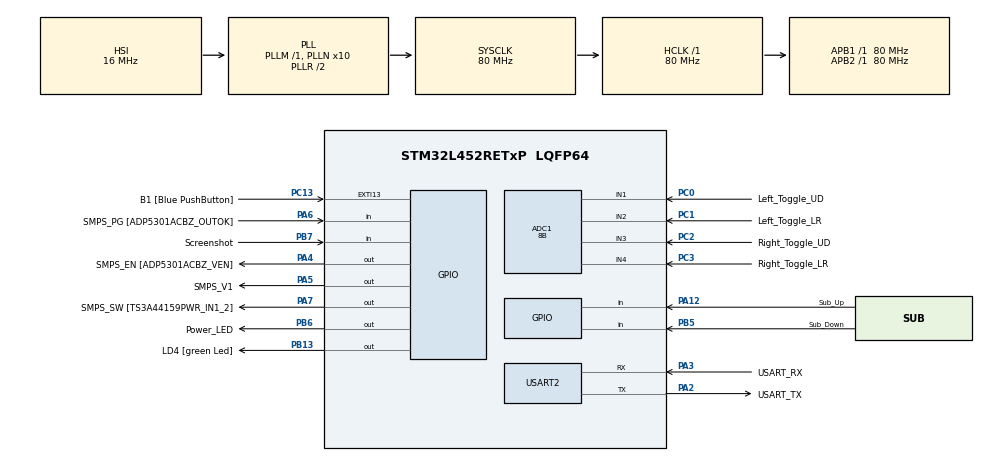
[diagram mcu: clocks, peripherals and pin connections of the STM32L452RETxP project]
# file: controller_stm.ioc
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ADC1.Channel-0\#ChannelRegularConversion=ADC_CHANNEL_1
ADC1.Channel-4\#ChannelRegularConversion=ADC_CHANNEL_2
ADC1.Channel-5\#ChannelRegularConversion=ADC_CHANNEL_3
ADC1.Channel-6\#ChannelRegularConversion=ADC_CHANNEL_4
ADC1.ContinuousConvMode=DISABLE
ADC1.DMAContinuousRequests=ENABLE
ADC1.NbrOfConversion=4
ADC1.NbrOfConversionFlag=1
ADC1.Offset-0\#ChannelRegularConversion=1
ADC1.OffsetNumber-0\#ChannelRegularConversion=ADC_OFFSET_NONE
ADC1.OffsetNumber-4\#ChannelRegularConversion=ADC_OFFSET_NONE
ADC1.OffsetNumber-5\#ChannelRegularConversion=ADC_OFFSET_NONE
ADC1.OffsetNumber-6\#ChannelRegularConversion=ADC_OFFSET_NONE
ADC1.Rank-0\#ChannelRegularConversion=1
ADC1.Rank-4\#ChannelRegularConversion=2
ADC1.Rank-5\#ChannelRegularConversion=3
ADC1.Rank-6\#ChannelRegularConversion=4
ADC1.Resolution=ADC_RESOLUTION_8B
ADC1.SamplingTime-0\#ChannelRegularConversion=ADC_SAMPLETIME_2CYCLES_5
ADC1.SamplingTime-4\#ChannelRegularConversion=ADC_SAMPLETIME_2CYCLES_5
ADC1.SamplingTime-5\#ChannelRegularConversion=ADC_SAMPLETIME_2CYCLES_5
ADC1.SamplingTime-6\#ChannelRegularConversion=ADC_SAMPLETIME_2CYCLES_5
ADC1.master=1
Dma.ADC1.0.Direction=DMA_PERIPH_TO_MEMORY
Dma.ADC1.0.Instance=DMA1_Channel1
Dma.ADC1.0.MemDataAlignment=DMA_MDATAALIGN_WORD
Dma.ADC1.0.MemInc=DMA_MINC_ENABLE
Dma.ADC1.0.Mode=DMA_CIRCULAR
Dma.ADC1.0.PeriphDataAlignment=DMA_PDATAALIGN_WORD
Dma.ADC1.0.PeriphInc=DMA_PINC_DISABLE
Dma.ADC1.0.Priority=DMA_PRIORITY_LOW
Dma.Request0=ADC1
Mcu.Family=STM32L4
Mcu.Name=STM32L452RETxP
Mcu.Package=LQFP64
NVIC.DMA1_Channel1_IRQn=true\:0\:0\:false\:false\:true\:false\:true\:true
NVIC.PriorityGroup=NVIC_PRIORITYGROUP_4
NVIC.USART2_IRQn=true\:0\:0\:false\:false\:true\:true\:true\:true
PA12.GPIO_Label=Sub_Up
PA12.Signal=GPIO_Input
PA13\ (JTMS/SWDIO).GPIO_Label=TMS
PA13\ (JTMS/SWDIO).Mode=Serial_Wire
PA13\ (JTMS/SWDIO).Signal=SYS_JTMS-SWDIO
PA14\ (JTCK/SWCLK).GPIO_Label=TCK
PA14\ (JTCK/SWCLK).Mode=Serial_Wire
PA14\ (JTCK/SWCLK).Signal=SYS_JTCK-SWCLK
PA2.GPIO_Label=USART_TX
PA2.GPIO_Mode=GPIO_MODE_AF_PP
PA2.GPIO_PuPd=GPIO_NOPULL
PA2.GPIO_Speed=GPIO_SPEED_FREQ_VERY_HIGH
PA2.Mode=Asynchronous
PA2.Signal=USART2_TX
PA3.GPIO_Label=USART_RX
PA3.GPIO_Mode=GPIO_MODE_AF_PP
PA3.GPIO_PuPd=GPIO_NOPULL
PA3.GPIO_Speed=GPIO_SPEED_FREQ_VERY_HIGH
PA3.Mode=Asynchronous
PA3.Signal=USART2_RX
PA4.GPIO_Label=SMPS_EN [ADP5301ACBZ_VEN]
PA4.Signal=GPIO_Output
PA5.GPIO_Label=SMPS_V1
PA5.GPIO_ModeDefaultOutputPP=GPIO_MODE_OUTPUT_PP
PA5.GPIO_PuPd=GPIO_NOPULL
PA5.GPIO_Speed=GPIO_SPEED_FREQ_LOW
PA5.Signal=GPIO_Output
PA6.GPIO_Label=SMPS_PG [ADP5301ACBZ_OUTOK]
PA6.GPIO_PuPd=GPIO_PULLUP
PA6.Signal=GPIO_Input
PA7.GPIO_Label=SMPS_SW [TS3A44159PWR_IN1_2]
PA7.Signal=GPIO_Output
PB13.GPIO_Label=LD4 [green Led]
PB13.Signal=GPIO_Output
PB3\ (JTDO/TRACESWO).GPIO_Label=SWO
PB3\ (JTDO/TRACESWO).Signal=SYS_JTDO-SWO
PB5.GPIO_Label=Sub_Down
PB5.Signal=GPIO_Input
PB6.GPIO_Label=Power_LED
PB6.Signal=GPIO_Output
PB7.GPIO_Label=Screenshot
PB7.Signal=GPIO_Input
PC0.GPIO_Label=Left_Toggle_UD
PC0.Signal=ADCx_IN1
PC1.GPIO_Label=Left_Toggle_LR
PC1.Signal=ADCx_IN2
PC13.GPIO_Label=B1 [Blue PushButton]
PC13.GPIO_ModeDefaultEXTI=GPIO_MODE_IT_FALLING
PC13.GPIO_PuPd=GPIO_NOPULL
PC13.Signal=GPXTI13
PC14-OSC32_IN\ (PC14).Mode=LSE-External-Clock-Source
PC14-OSC32_IN\ (PC14).Signal=RCC_OSC32_IN
PC15-OSC32_OUT\ (PC15).Signal=RCC_OSC32_OUT
PC2.GPIO_Label=Right_Toggle_UD
PC2.Signal=ADCx_IN3
PC3.GPIO_Label=Right_Toggle_LR
PC3.Signal=ADCx_IN4
PH0-OSC_IN\ (PH0).GPIO_Label=MCO
PH0-OSC_IN\ (PH0).Mode=HSE-External-Oscillator
PH0-OSC_IN\ (PH0).Signal=RCC_OSC_IN
PH1-OSC_OUT\ (PH1).Mode=HSE-External-Oscillator
PH1-OSC_OUT\ (PH1).Signal=RCC_OSC_OUT
ProjectManager.HeapSize=0x200
ProjectManager.StackSize=0x400
ProjectManager.TargetToolchain=STM32CubeIDE
RCC.ADCFreq_Value=64000000
RCC.AHBFreq_Value=80000000
RCC.APB1Freq_Value=80000000
RCC.APB1TimFreq_Value=80000000
RCC.APB2Freq_Value=80000000
RCC.APB2TimFreq_Value=80000000
RCC.CortexFreq_Value=80000000
RCC.HCLKFreq_Value=80000000
RCC.HSE_VALUE=8000000
RCC.HSI48_VALUE=48000000
RCC.HSI_VALUE=16000000
RCC.LSE_VALUE=32768
RCC.MSI_VALUE=4000000
RCC.PLLN=10
RCC.PLLSourceVirtual=RCC_PLLSOURCE_HSI
RCC.SYSCLKFreq_VALUE=80000000
RCC.SYSCLKSource=RCC_SYSCLKSOURCE_PLLCLK
RCC.USBFreq_Value=64000000
RCC.VCOOutputFreq_Value=160000000
SH.ADCx_IN1.0=ADC1_IN1,IN1-Single-Ended
SH.ADCx_IN2.0=ADC1_IN2,IN2-Single-Ended
SH.ADCx_IN3.0=ADC1_IN3,IN3-Single-Ended
SH.ADCx_IN4.0=ADC1_IN4,IN4-Single-Ended
USART2.VirtualMode-Asynchronous=VM_ASYNC
board=NUCLEO-L452RE-P

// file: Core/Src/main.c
/* USER CODE BEGIN Header */
/**
  ******************************************************************************
  * @file           : main.c
  * @brief          : Constantly polls to take input from controller to send to
  * the subs
  ******************************************************************************
  * @attention
  *
  * Copyright (c) 2023 STMicroelectronics.
  * All rights reserved.
  *
  * This software is licensed under terms that can be found in the LICENSE file
  * in the root directory of this software component.
  * If no LICENSE file comes with this software, it is provided AS-IS.
  *
  ******************************************************************************
  */
/* USER CODE END Header */
#include "main.h"

/* USER CODE BEGIN Includes */
#include "string.h"
#include <stdio.h>
#include <stdlib.h>
/* USER CODE END Includes */

ADC_HandleTypeDef hadc1;
//The hadc1 variable is declared here. The MX_ADC1_Init() function takes a void
//parameter. Within that function hadc1 is configured. (Line 250-280)
DMA_HandleTypeDef hdma_adc1;

UART_HandleTypeDef huart2;

void SystemClock_Config(void);
static void MX_GPIO_Init(void);
static void MX_DMA_Init(void);
static void MX_ADC1_Init(void);
static void MX_USART2_UART_Init(void);

int main(void)
{
  /* USER CODE BEGIN 1 */
	//Initialize structure variables to nothing
	uint8_t leftToggleUD = 0;
	uint8_t leftToggleLR = 0;
	uint8_t rightToggleUD = 0;
	uint8_t rightToggleLR = 0;
	uint8_t subDown = 0;
	uint8_t subUp = 0;
	uint8_t screenshot = 0;

	//Store toggle data
	uint32_t toggleData[4];

  /* USER CODE END 1 */

  /* MCU Configuration--------------------------------------------------------*/

  /* Reset of all peripherals, Initializes the Flash interface and the Systick. */
  HAL_Init();

  /* Configure the system clock */
  SystemClock_Config();

  /* Initialize all configured peripherals */
  MX_GPIO_Init();
  MX_DMA_Init();
  MX_ADC1_Init();
  MX_USART2_UART_Init();
  /* USER CODE BEGIN 2 */
  //Start ADC and initialize channels
  //HAL_ADC_Start(&hadc1);
  //HAL_ADC_ConfigChannel(&hadc1, ADC_CHANNEL_1);
  //HAL_ADC_ConfigChannel(&hadc1, ADC_CHANNEL_2);
  //HAL_ADC_ConfigChannel(&hadc1, ADC_CHANNEL_3);
  //HAL_ADC_ConfigChannel(&hadc1, ADC_CHANNEL_4);

  //Turn on Power LED
  HAL_GPIO_TogglePin(GPIOB, GPIO_PIN_6);

  //Local debug - warning but it's intentional so a debugger can easily read current values
  uint8_t localbuff[7];

  //Buffer to be transmitted
  //25 indices for 4 three digit numbers, 6 commas, a carriage return and newline
  //and 3 single digits. Added two extra indices as a buffer so that sprintf doesn't error
  char buffer[25];
  for(int i = 0; i < 35; i++)
  {
	  buffer[i] = 0;
  }

  // Calibrate The ADC On Power-Up For Better Accuracy
  //HAL_ADCEx_Calibration_Start(&hadc1);
  /* USER CODE END 2 */

  /* Infinite loop */
  /* USER CODE BEGIN WHILE */
	while (1)
	{
		//Poll data from GPIO pins and ADC channels 1-4
		if(HAL_GPIO_ReadPin(GPIOA, GPIO_PIN_12) == GPIO_PIN_SET) subUp = 1;
		if(HAL_GPIO_ReadPin(GPIOB, GPIO_PIN_5) == GPIO_PIN_SET) subDown = 1;
		if(HAL_GPIO_ReadPin(GPIOB, GPIO_PIN_7) == GPIO_PIN_SET) screenshot = 1;

		//Start ADC in DMA mode
		HAL_ADC_Start_DMA(&hadc1, toggleData, 4);

		leftToggleUD = toggleData[0];
		leftToggleLR = toggleData[1];
		rightToggleUD = toggleData[2];
		rightToggleLR = toggleData[3];

		//Local debug
		localbuff[0] = leftToggleUD;
		localbuff[1] = leftToggleLR;
		localbuff[2] = rightToggleUD;
		localbuff[3] = rightToggleLR;
		localbuff[4] = subUp;
		localbuff[5] = subDown;
		localbuff[6] = screenshot;

		//Prep data to be sent off to Raspberry Pi
		sprintf(buffer, "%u,%u,%u,%u,%u,%u,%u\n\r", leftToggleUD, leftToggleLR,
						rightToggleUD, rightToggleLR, subUp, subDown, screenshot);

		//Transmit Data *Note, may want to do an interrupt style sometime? For now this seems to work fine
		if(HAL_UART_Transmit(&huart2, (uint8_t *)buffer, sizeof(buffer), HAL_MAX_DELAY) == HAL_OK)
		{
			//Delay because we don't need to transmit that fast - this is a controller operated by humans
			HAL_Delay(50);
			//Reset everything to 0 once data is transmitted
			subUp = 0;
			subDown = 0;
			screenshot = 0;
			leftToggleLR = 0;
			leftToggleUD = 0;
			rightToggleLR = 0;
			rightToggleUD = 0;

		}

    /* USER CODE END WHILE */

	}
}

void SystemClock_Config(void)
{
  RCC_OscInitTypeDef RCC_OscInitStruct = {0};
  RCC_ClkInitTypeDef RCC_ClkInitStruct = {0};

  /** Configure the main internal regulator output voltage
  */
  if (HAL_PWREx_ControlVoltageScaling(PWR_REGULATOR_VOLTAGE_SCALE1) != HAL_OK)
  {
    Error_Handler();
  }

  /** Initializes the RCC Oscillators according to the specified parameters
  * in the RCC_OscInitTypeDef structure.
  */
  RCC_OscInitStruct.OscillatorType = RCC_OSCILLATORTYPE_HSI;
  RCC_OscInitStruct.HSIState = RCC_HSI_ON;
  RCC_OscInitStruct.HSICalibrationValue = RCC_HSICALIBRATION_DEFAULT;
  RCC_OscInitStruct.PLL.PLLState = RCC_PLL_ON;
  RCC_OscInitStruct.PLL.PLLSource = RCC_PLLSOURCE_HSI;
  RCC_OscInitStruct.PLL.PLLM = 1;
  RCC_OscInitStruct.PLL.PLLN = 10;
  RCC_OscInitStruct.PLL.PLLP = RCC_PLLP_DIV7;
  RCC_OscInitStruct.PLL.PLLQ = RCC_PLLQ_DIV2;
  RCC_OscInitStruct.PLL.PLLR = RCC_PLLR_DIV2;
  if (HAL_RCC_OscConfig(&RCC_OscInitStruct) != HAL_OK)
  {
    Error_Handler();
  }

  /** Initializes the CPU, AHB and APB buses clocks
  */
  RCC_ClkInitStruct.ClockType = RCC_CLOCKTYPE_HCLK|RCC_CLOCKTYPE_SYSCLK
                              |RCC_CLOCKTYPE_PCLK1|RCC_CLOCKTYPE_PCLK2;
  RCC_ClkInitStruct.SYSCLKSource = RCC_SYSCLKSOURCE_PLLCLK;
  RCC_ClkInitStruct.AHBCLKDivider = RCC_SYSCLK_DIV1;
  RCC_ClkInitStruct.APB1CLKDivider = RCC_HCLK_DIV1;
  RCC_ClkInitStruct.APB2CLKDivider = RCC_HCLK_DIV1;

  if (HAL_RCC_ClockConfig(&RCC_ClkInitStruct, FLASH_LATENCY_4) != HAL_OK)
  {
    Error_Handler();
  }
}

static void MX_ADC1_Init(void)
{

  ADC_ChannelConfTypeDef sConfig = {0};

  /** Common config
  */
  hadc1.Instance = ADC1;
  hadc1.Init.ClockPrescaler = ADC_CLOCK_ASYNC_DIV1;
  hadc1.Init.Resolution = ADC_RESOLUTION_8B;
  hadc1.Init.DataAlign = ADC_DATAALIGN_RIGHT;
  hadc1.Init.ScanConvMode = ADC_SCAN_ENABLE;
  hadc1.Init.EOCSelection = ADC_EOC_SINGLE_CONV;
  hadc1.Init.LowPowerAutoWait = DISABLE;
  hadc1.Init.ContinuousConvMode = DISABLE;
  hadc1.Init.NbrOfConversion = 4;
  hadc1.Init.DiscontinuousConvMode = DISABLE;
  hadc1.Init.ExternalTrigConv = ADC_SOFTWARE_START;
  hadc1.Init.ExternalTrigConvEdge = ADC_EXTERNALTRIGCONVEDGE_NONE;
  hadc1.Init.DMAContinuousRequests = ENABLE;
  hadc1.Init.Overrun = ADC_OVR_DATA_PRESERVED;
  hadc1.Init.OversamplingMode = DISABLE;
  if (HAL_ADC_Init(&hadc1) != HAL_OK)
  {
    Error_Handler();
  }

  /** Configure Regular Channel
  */
  sConfig.Channel = ADC_CHANNEL_1;
  sConfig.Rank = ADC_REGULAR_RANK_1;
  sConfig.SamplingTime = ADC_SAMPLETIME_2CYCLES_5;
  sConfig.SingleDiff = ADC_SINGLE_ENDED;
  sConfig.OffsetNumber = ADC_OFFSET_NONE;
  sConfig.Offset = 1;
  if (HAL_ADC_ConfigChannel(&hadc1, &sConfig) != HAL_OK)
  {
    Error_Handler();
  }

  /** Configure Regular Channel
  */
  sConfig.Channel = ADC_CHANNEL_2;
  sConfig.Rank = ADC_REGULAR_RANK_2;
  sConfig.Offset = 0;
  if (HAL_ADC_ConfigChannel(&hadc1, &sConfig) != HAL_OK)
  {
    Error_Handler();
  }

  /** Configure Regular Channel
  */
  sConfig.Channel = ADC_CHANNEL_3;
  sConfig.Rank = ADC_REGULAR_RANK_3;
  if (HAL_ADC_ConfigChannel(&hadc1, &sConfig) != HAL_OK)
  {
    Error_Handler();
  }

  /** Configure Regular Channel
  */
  sConfig.Channel = ADC_CHANNEL_4;
  sConfig.Rank = ADC_REGULAR_RANK_4;
  if (HAL_ADC_ConfigChannel(&hadc1, &sConfig) != HAL_OK)
  {
    Error_Handler();
  }

}

static void MX_USART2_UART_Init(void)
{

  huart2.Instance = USART2;
  huart2.Init.BaudRate = 115200;
  huart2.Init.WordLength = UART_WORDLENGTH_8B;
  huart2.Init.StopBits = UART_STOPBITS_1;
  huart2.Init.Parity = UART_PARITY_NONE;
  huart2.Init.Mode = UART_MODE_TX_RX;
  huart2.Init.HwFlowCtl = UART_HWCONTROL_NONE;
  huart2.Init.OverSampling = UART_OVERSAMPLING_16;
  huart2.Init.OneBitSampling = UART_ONE_BIT_SAMPLE_DISABLE;
  huart2.AdvancedInit.AdvFeatureInit = UART_ADVFEATURE_NO_INIT;
  if (HAL_UART_Init(&huart2) != HAL_OK)
  {
    Error_Handler();
  }

}

static void MX_DMA_Init(void)
{

  /* DMA controller clock enable */
  __HAL_RCC_DMA1_CLK_ENABLE();

  /* DMA interrupt init */
  /* DMA1_Channel1_IRQn interrupt configuration */
  HAL_NVIC_SetPriority(DMA1_Channel1_IRQn, 0, 0);
  HAL_NVIC_EnableIRQ(DMA1_Channel1_IRQn);

}

static void MX_GPIO_Init(void)
{
  GPIO_InitTypeDef GPIO_InitStruct = {0};

  /* GPIO Ports Clock Enable */
  __HAL_RCC_GPIOC_CLK_ENABLE();
  __HAL_RCC_GPIOH_CLK_ENABLE();
  __HAL_RCC_GPIOA_CLK_ENABLE();
  __HAL_RCC_GPIOB_CLK_ENABLE();

  /*Configure GPIO pin Output Level */
  HAL_GPIO_WritePin(GPIOA, SMPS_EN_Pin|SMPS_V1_Pin|SMPS_SW_Pin, GPIO_PIN_RESET);

  /*Configure GPIO pin Output Level */
  HAL_GPIO_WritePin(GPIOB, LD4_Pin|Power_LED_Pin, GPIO_PIN_RESET);

  /*Configure GPIO pin : B1_Pin */
  GPIO_InitStruct.Pin = B1_Pin;
  GPIO_InitStruct.Mode = GPIO_MODE_IT_FALLING;
  GPIO_InitStruct.Pull = GPIO_NOPULL;
  HAL_GPIO_Init(B1_GPIO_Port, &GPIO_InitStruct);

  /*Configure GPIO pins : SMPS_EN_Pin SMPS_V1_Pin SMPS_SW_Pin */
  GPIO_InitStruct.Pin = SMPS_EN_Pin|SMPS_V1_Pin|SMPS_SW_Pin;
  GPIO_InitStruct.Mode = GPIO_MODE_OUTPUT_PP;
  GPIO_InitStruct.Pull = GPIO_NOPULL;
  GPIO_InitStruct.Speed = GPIO_SPEED_FREQ_LOW;
  HAL_GPIO_Init(GPIOA, &GPIO_InitStruct);

  /*Configure GPIO pin : SMPS_PG_Pin */
  GPIO_InitStruct.Pin = SMPS_PG_Pin;
  GPIO_InitStruct.Mode = GPIO_MODE_INPUT;
  GPIO_InitStruct.Pull = GPIO_PULLUP;
  HAL_GPIO_Init(SMPS_PG_GPIO_Port, &GPIO_InitStruct);

  /*Configure GPIO pins : LD4_Pin Power_LED_Pin */
  GPIO_InitStruct.Pin = LD4_Pin|Power_LED_Pin;
  GPIO_InitStruct.Mode = GPIO_MODE_OUTPUT_PP;
  GPIO_InitStruct.Pull = GPIO_NOPULL;
  GPIO_InitStruct.Speed = GPIO_SPEED_FREQ_LOW;
  HAL_GPIO_Init(GPIOB, &GPIO_InitStruct);

  /*Configure GPIO pin : Sub_Up_Pin */
  GPIO_InitStruct.Pin = Sub_Up_Pin;
  GPIO_InitStruct.Mode = GPIO_MODE_INPUT;
  GPIO_InitStruct.Pull = GPIO_NOPULL;
  HAL_GPIO_Init(Sub_Up_GPIO_Port, &GPIO_InitStruct);

  /*Configure GPIO pins : Sub_Down_Pin Screenshot_Pin */
  GPIO_InitStruct.Pin = Sub_Down_Pin|Screenshot_Pin;
  GPIO_InitStruct.Mode = GPIO_MODE_INPUT;
  GPIO_InitStruct.Pull = GPIO_NOPULL;
  HAL_GPIO_Init(GPIOB, &GPIO_InitStruct);

}

/* USER CODE BEGIN 4 */
//void HAL_ADC_ConvHalfCpltCallback(ADC_HandleTypeDef* hadc)
//{

//}

//void HAL_ADC_ConvCpltCallback(ADC_HandleTypeDef* hadc)
//{
//	leftToggleUD = toggleData[0];
//	leftToggleLR = toggleData[1];
//	rightToggleUD = toggleData[2];
//	rightToggleLR = toggleData[3];
//}
/* USER CODE END 4 */

void Error_Handler(void)
{
  __disable_irq();
  while (1)
  {
  }
}
